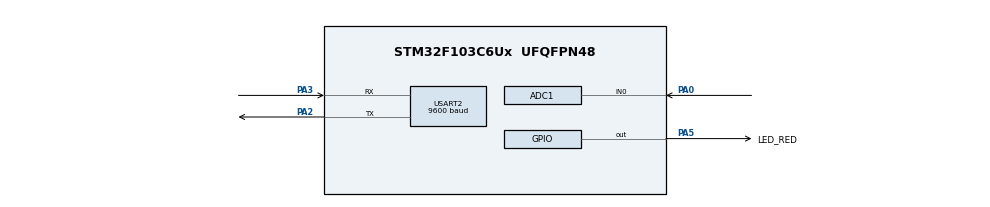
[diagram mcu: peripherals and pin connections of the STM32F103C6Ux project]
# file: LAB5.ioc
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ADC1.Channel-0\#ChannelRegularConversion=ADC_CHANNEL_0
ADC1.ContinuousConvMode=ENABLE
ADC1.NbrOfConversionFlag=1
ADC1.Rank-0\#ChannelRegularConversion=1
ADC1.SamplingTime-0\#ChannelRegularConversion=ADC_SAMPLETIME_1CYCLE_5
ADC1.master=1
Mcu.Family=STM32F1
Mcu.Name=STM32F103C6Ux
Mcu.Package=UFQFPN48
NVIC.PriorityGroup=NVIC_PRIORITYGROUP_4
NVIC.USART2_IRQn=true\:0\:0\:false\:false\:true\:true\:true
PA0-WKUP.Signal=ADCx_IN0
PA2.Mode=Asynchronous
PA2.Signal=USART2_TX
PA3.Mode=Asynchronous
PA3.Signal=USART2_RX
PA5.GPIO_Label=LED_RED
PA5.Signal=GPIO_Output
ProjectManager.HeapSize=0x200
ProjectManager.StackSize=0x400
ProjectManager.TargetToolchain=STM32CubeIDE
RCC.APB1Freq_Value=8000000
RCC.APB2Freq_Value=8000000
SH.ADCx_IN0.0=ADC1_IN0,IN0
USART2.BaudRate=9600
USART2.VirtualMode=VM_ASYNC
VP_SYS_VS_ND.Mode=No_Debug
board=custom

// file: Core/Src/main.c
/* USER CODE BEGIN Header */
/**
  ******************************************************************************
  * @file           : main.c
  * @brief          : Main program body
  ******************************************************************************
  * @attention
  *
  * <h2><center>&copy; Copyright (c) 2025 STMicroelectronics.
  * All rights reserved.</center></h2>
  *
  * This software component is licensed by ST under BSD 3-Clause license,
  * the "License"; You may not use this file except in compliance with the
  * License. You may obtain a copy of the License at:
  *                        opensource.org/licenses/BSD-3-Clause
  *
  ******************************************************************************
  */
/* USER CODE END Header */
#include "main.h"

/* USER CODE BEGIN Includes */
#include <stdio.h>
#include <string.h>
/* USER CODE END Includes */

ADC_HandleTypeDef hadc1;

UART_HandleTypeDef huart2;

void SystemClock_Config(void);
static void MX_GPIO_Init(void);
static void MX_ADC1_Init(void);
static void MX_USART2_UART_Init(void);

/* USER CODE BEGIN 0 */
#define MAX_BUFFER_SIZE 30
uint8_t temp = 0;
uint8_t buffer[MAX_BUFFER_SIZE];
uint8_t index_buffer = 0;
uint8_t buffer_flag = 0;

uint8_t read_index = 0;
uint8_t command_flag = 0;

char str_tx[50];
uint32_t last_adc_value = 0;
uint32_t timer_start_time = 0;

enum UART_STATE {
    UART_IDLE,
    UART_WAIT_OK
};
enum UART_STATE uart_state = UART_IDLE;

void HAL_UART_RxCpltCallback(UART_HandleTypeDef *huart) {
    if (huart->Instance == USART2) {
        // Mã ASCII của Backspace thường là 8 (\b) hoặc 127 (DEL)
        if (temp == 8 || temp == 127) {
            uint8_t backspace_seq[] = "\b \b";
            HAL_UART_Transmit(&huart2, backspace_seq, 3, 10);
        } else {
            HAL_UART_Transmit(&huart2, &temp, 1, 10);
        }
        buffer[index_buffer++] = temp;
        if (index_buffer == MAX_BUFFER_SIZE) index_buffer = 0;

        buffer_flag = 1;
        HAL_UART_Receive_IT(&huart2, &temp, 1);
    }
}

void command_parser_fsm() {
    static char cmd_buffer[MAX_BUFFER_SIZE];
    static uint8_t cmd_index = 0;
    static enum PARSER_STATE {
        PARSER_IDLE,
        PARSER_RECEIVING
    } parser_state = PARSER_IDLE;

    while (read_index != index_buffer) {
        uint8_t char_rx = buffer[read_index++];
        if (read_index == MAX_BUFFER_SIZE) read_index = 0;

        if (char_rx == 8 || char_rx == 127) {
            if (parser_state == PARSER_RECEIVING && cmd_index > 0) {
                cmd_index--;
            }
            continue;
        }

        if (char_rx == '!') {
            cmd_index = 0;
            cmd_buffer[cmd_index++] = char_rx;
            parser_state = PARSER_RECEIVING;
            continue;
        }

        switch(parser_state) {
            case PARSER_IDLE:
                break;

            case PARSER_RECEIVING:
                cmd_buffer[cmd_index++] = char_rx;

                if (char_rx == '#') {
                    cmd_buffer[cmd_index] = '\0';

                    if (strcmp(cmd_buffer, "!RST#") == 0) {
                        command_flag = 1;
                        parser_state = PARSER_IDLE;
                    }
                    else if (strcmp(cmd_buffer, "!OK#") == 0) {
                        command_flag = 2;
                        parser_state = PARSER_IDLE;
                    }
                    else {
//                    	parser_state = PARSER_IDLE;
                    }
                }
                else if (cmd_index >= MAX_BUFFER_SIZE - 1) {
                    parser_state = PARSER_IDLE;
                    cmd_index = 0;
                }
                break;
        }
    }
}

void uart_communiation_fsm() {
    switch(uart_state) {
        case UART_IDLE:
            if (command_flag == 1) {
                command_flag = 0;

                last_adc_value = HAL_ADC_GetValue(&hadc1);

                sprintf(str_tx, "!ADC=%d#\r\n", (int)last_adc_value);

                HAL_UART_Transmit(&huart2, (uint8_t*)str_tx, strlen(str_tx), 1000);

                timer_start_time = HAL_GetTick();
                uart_state = UART_WAIT_OK;
            }
            break;

        case UART_WAIT_OK:
        	if (command_flag == 1) {
				command_flag = 0;
				last_adc_value = HAL_ADC_GetValue(&hadc1);
				sprintf(str_tx, "!ADC=%d#\r\n", (int)last_adc_value);
				HAL_UART_Transmit(&huart2, (uint8_t*)str_tx, strlen(str_tx), 1000);
				timer_start_time = HAL_GetTick();
			}

			if (command_flag == 2) {
				command_flag = 0;
				uart_state = UART_IDLE;
			}

			if (HAL_GetTick() - timer_start_time > 3000) {
				sprintf(str_tx, "!ADC=%d#\r\n", (int)last_adc_value);
				HAL_UART_Transmit(&huart2, (uint8_t*)str_tx, strlen(str_tx), 1000);
				timer_start_time = HAL_GetTick();
			}
			break;
    }
}
/* USER CODE END 0 */

int main(void)
{

  /* MCU Configuration--------------------------------------------------------*/

  /* Reset of all peripherals, Initializes the Flash interface and the Systick. */
  HAL_Init();

  /* Configure the system clock */
  SystemClock_Config();

  /* Initialize all configured peripherals */
  MX_GPIO_Init();
  MX_ADC1_Init();
  MX_USART2_UART_Init();
  /* USER CODE BEGIN 2 */
  HAL_ADC_Start(&hadc1);
  HAL_UART_Receive_IT(&huart2, &temp, 1);
  /* USER CODE END 2 */
  uint32_t led_timer = HAL_GetTick();
  /* Infinite loop */
  /* USER CODE BEGIN WHILE */
  while (1)
  {
	  if (buffer_flag == 1) {
		  command_parser_fsm();
	      buffer_flag = 0;
	  }
	  uart_communiation_fsm();

	  if (HAL_GetTick() - led_timer >= 500) {
		  HAL_GPIO_TogglePin(LED_RED_GPIO_Port, LED_RED_Pin);
		  led_timer = HAL_GetTick();
	  }
    /* USER CODE END WHILE */

  }
}

void SystemClock_Config(void)
{
  RCC_OscInitTypeDef RCC_OscInitStruct = {0};
  RCC_ClkInitTypeDef RCC_ClkInitStruct = {0};
  RCC_PeriphCLKInitTypeDef PeriphClkInit = {0};

  /** Initializes the RCC Oscillators according to the specified parameters
  * in the RCC_OscInitTypeDef structure.
  */
  RCC_OscInitStruct.OscillatorType = RCC_OSCILLATORTYPE_HSI;
  RCC_OscInitStruct.HSIState = RCC_HSI_ON;
  RCC_OscInitStruct.HSICalibrationValue = RCC_HSICALIBRATION_DEFAULT;
  RCC_OscInitStruct.PLL.PLLState = RCC_PLL_NONE;
  if (HAL_RCC_OscConfig(&RCC_OscInitStruct) != HAL_OK)
  {
    Error_Handler();
  }
  /** Initializes the CPU, AHB and APB buses clocks
  */
  RCC_ClkInitStruct.ClockType = RCC_CLOCKTYPE_HCLK|RCC_CLOCKTYPE_SYSCLK
                              |RCC_CLOCKTYPE_PCLK1|RCC_CLOCKTYPE_PCLK2;
  RCC_ClkInitStruct.SYSCLKSource = RCC_SYSCLKSOURCE_HSI;
  RCC_ClkInitStruct.AHBCLKDivider = RCC_SYSCLK_DIV1;
  RCC_ClkInitStruct.APB1CLKDivider = RCC_HCLK_DIV1;
  RCC_ClkInitStruct.APB2CLKDivider = RCC_HCLK_DIV1;

  if (HAL_RCC_ClockConfig(&RCC_ClkInitStruct, FLASH_LATENCY_0) != HAL_OK)
  {
    Error_Handler();
  }
  PeriphClkInit.PeriphClockSelection = RCC_PERIPHCLK_ADC;
  PeriphClkInit.AdcClockSelection = RCC_ADCPCLK2_DIV2;
  if (HAL_RCCEx_PeriphCLKConfig(&PeriphClkInit) != HAL_OK)
  {
    Error_Handler();
  }
}

static void MX_ADC1_Init(void)
{

  ADC_ChannelConfTypeDef sConfig = {0};

  /** Common config
  */
  hadc1.Instance = ADC1;
  hadc1.Init.ScanConvMode = ADC_SCAN_DISABLE;
  hadc1.Init.ContinuousConvMode = ENABLE;
  hadc1.Init.DiscontinuousConvMode = DISABLE;
  hadc1.Init.ExternalTrigConv = ADC_SOFTWARE_START;
  hadc1.Init.DataAlign = ADC_DATAALIGN_RIGHT;
  hadc1.Init.NbrOfConversion = 1;
  if (HAL_ADC_Init(&hadc1) != HAL_OK)
  {
    Error_Handler();
  }
  /** Configure Regular Channel
  */
  sConfig.Channel = ADC_CHANNEL_0;
  sConfig.Rank = ADC_REGULAR_RANK_1;
  sConfig.SamplingTime = ADC_SAMPLETIME_1CYCLE_5;
  if (HAL_ADC_ConfigChannel(&hadc1, &sConfig) != HAL_OK)
  {
    Error_Handler();
  }

}

static void MX_USART2_UART_Init(void)
{

  huart2.Instance = USART2;
  huart2.Init.BaudRate = 9600;
  huart2.Init.WordLength = UART_WORDLENGTH_8B;
  huart2.Init.StopBits = UART_STOPBITS_1;
  huart2.Init.Parity = UART_PARITY_NONE;
  huart2.Init.Mode = UART_MODE_TX_RX;
  huart2.Init.HwFlowCtl = UART_HWCONTROL_NONE;
  huart2.Init.OverSampling = UART_OVERSAMPLING_16;
  if (HAL_UART_Init(&huart2) != HAL_OK)
  {
    Error_Handler();
  }

}

static void MX_GPIO_Init(void)
{
  GPIO_InitTypeDef GPIO_InitStruct = {0};

  /* GPIO Ports Clock Enable */
  __HAL_RCC_GPIOA_CLK_ENABLE();

  /*Configure GPIO pin Output Level */
  HAL_GPIO_WritePin(LED_RED_GPIO_Port, LED_RED_Pin, GPIO_PIN_RESET);

  /*Configure GPIO pin : LED_RED_Pin */
  GPIO_InitStruct.Pin = LED_RED_Pin;
  GPIO_InitStruct.Mode = GPIO_MODE_OUTPUT_PP;
  GPIO_InitStruct.Pull = GPIO_NOPULL;
  GPIO_InitStruct.Speed = GPIO_SPEED_FREQ_LOW;
  HAL_GPIO_Init(LED_RED_GPIO_Port, &GPIO_InitStruct);

}

void Error_Handler(void)
{
  __disable_irq();
  while (1)
  {
  }
}

/************************ (C) COPYRIGHT STMicroelectronics *****END OF FILE****/
